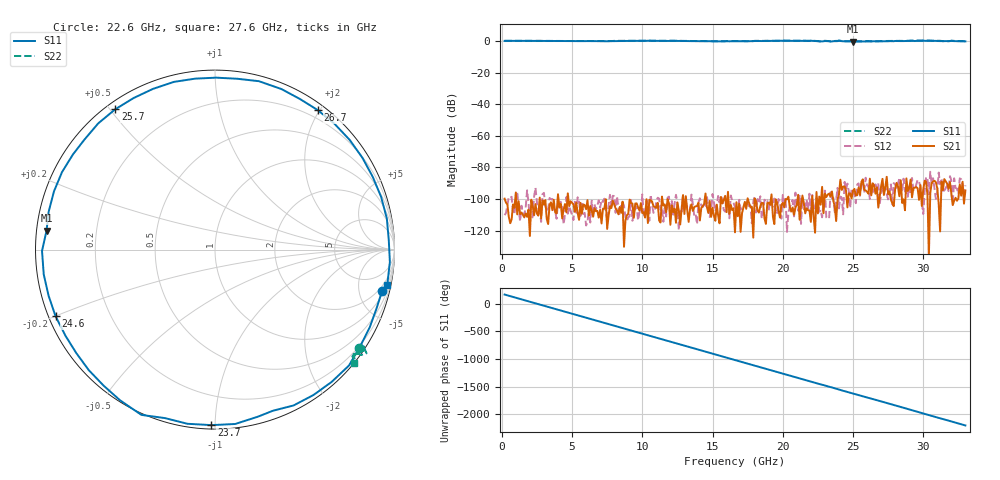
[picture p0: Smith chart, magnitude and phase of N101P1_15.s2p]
# GHZ S RI R 50
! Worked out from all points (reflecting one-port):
!   329 points, 200 MHz to 33 GHz, reference 50 ohm
!   lowest |S11| = -0.5 dB at 25 GHz (marker M1), VSWR 34.97, Z = 1.43 + j2.8 ohm
!   phase of S11 starts at 165 deg and turns -2369 deg over the sweep
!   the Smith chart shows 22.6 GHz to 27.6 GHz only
!   S11 on the Smith chart (normalised r, x): 22.6 GHz: 1.40, -8.02; 23.7 GHz: 0.02, -0.98; 24.6 GHz: 0.02, -0.20; 25.7 GHz: 0.03, +0.52; 26.7 GHz: 0.09, +1.98; 27.6 GHz: 0.96, -9.64
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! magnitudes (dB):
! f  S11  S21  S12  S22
! 200 MHz  0.0  -99.7  -110.1  0.0
! 5.7 GHz  -0.2  -109.2  -101.6  -0.1
! 11.2 GHz  0.0  -113.5  -99.6  0.1
! 16.6 GHz  -0.2  -121.0  -105.1  -0.2
! 20.4 GHz  0.1  -98.5  -108.6  0.1
! 22.1 GHz  0.0  -98.0  -97.4  0.1
! 22.6 GHz  -0.4  -98.4  -108.0  -0.2
! 23 GHz  -0.1  -96.6  -94.6  0.1
! 23.4 GHz  -0.4  -98.4  -95.7  -0.3
! 23.7 GHz  -0.2  -104.6  -108.2  -0.1
! 24 GHz  0.1  -97.3  -105.9  0.2
! 24.6 GHz  -0.3  -105.2  -90.1  -0.2
! 25 GHz  -0.5  -94.7  -95.6  -0.2
! 25.7 GHz  -0.4  -87.5  -89.0  -0.3
! 26 GHz  -0.3  -95.4  -91.4  -0.1
! 26.7 GHz  -0.3  -92.6  -92.9  -0.2
! 27.6 GHz  -0.2  -95.1  -94.9  0.0
! 30.4 GHz  0.0  -136.7  -97.0  0.3
! 31.4 GHz  -0.2  -94.3  -94.7  -0.2
! 31.8 GHz  -0.2  -93.5  -95.0  -0.2
! 32 GHz  0.0  -96.4  -88.2  0.1
! 33 GHz  -0.3  -94.6  -91.4  -0.2
